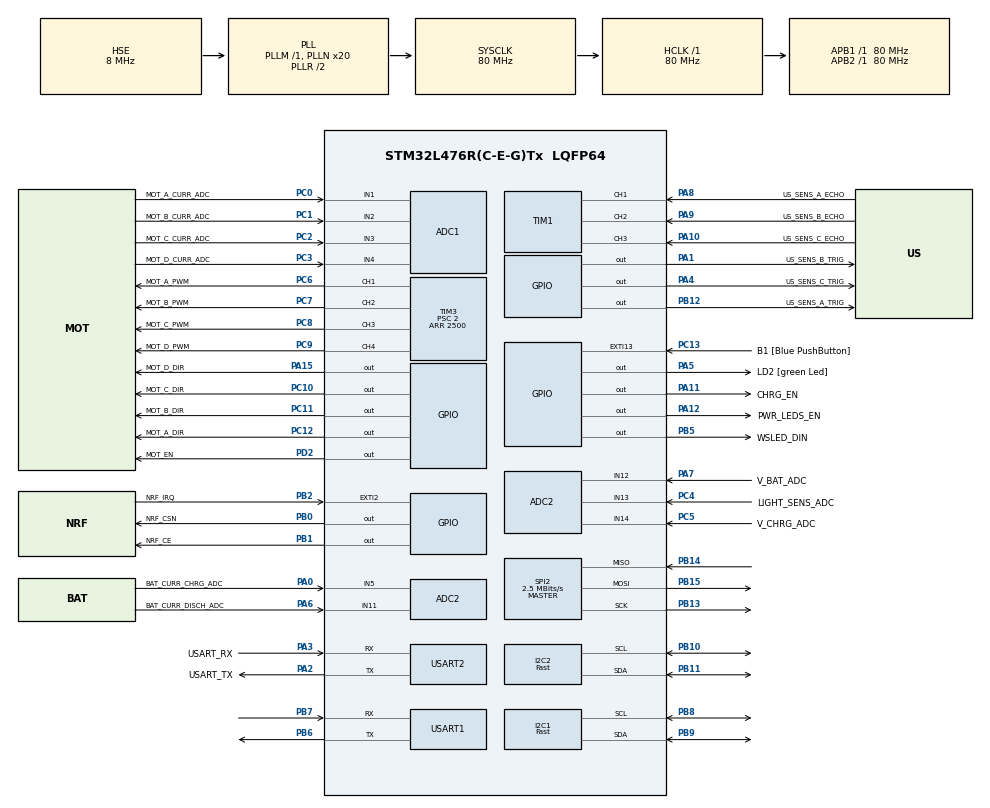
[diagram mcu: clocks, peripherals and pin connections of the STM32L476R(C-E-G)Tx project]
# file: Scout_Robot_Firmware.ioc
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ADC1.Channel-1\#ChannelRegularConversion=ADC_CHANNEL_1
ADC1.Channel-2\#ChannelRegularConversion=ADC_CHANNEL_2
ADC1.Channel-3\#ChannelRegularConversion=ADC_CHANNEL_3
ADC1.Channel-4\#ChannelRegularConversion=ADC_CHANNEL_4
ADC1.ContinuousConvMode=ENABLE
ADC1.DMAContinuousRequests=DISABLE
ADC1.EOCSelection=ADC_EOC_SEQ_CONV
ADC1.NbrOfConversion=4
ADC1.NbrOfConversionFlag=1
ADC1.OffsetNumber-1\#ChannelRegularConversion=ADC_OFFSET_NONE
ADC1.OffsetNumber-2\#ChannelRegularConversion=ADC_OFFSET_NONE
ADC1.OffsetNumber-3\#ChannelRegularConversion=ADC_OFFSET_NONE
ADC1.OffsetNumber-4\#ChannelRegularConversion=ADC_OFFSET_NONE
ADC1.Rank-1\#ChannelRegularConversion=1
ADC1.Rank-2\#ChannelRegularConversion=2
ADC1.Rank-3\#ChannelRegularConversion=3
ADC1.Rank-4\#ChannelRegularConversion=4
ADC1.SamplingTime-1\#ChannelRegularConversion=ADC_SAMPLETIME_47CYCLES_5
ADC1.SamplingTime-2\#ChannelRegularConversion=ADC_SAMPLETIME_47CYCLES_5
ADC1.SamplingTime-3\#ChannelRegularConversion=ADC_SAMPLETIME_47CYCLES_5
ADC1.SamplingTime-4\#ChannelRegularConversion=ADC_SAMPLETIME_47CYCLES_5
ADC1.master=1
ADC2.Channel-2\#ChannelRegularConversion=ADC_CHANNEL_11
ADC2.Channel-3\#ChannelRegularConversion=ADC_CHANNEL_11
ADC2.Channel-4\#ChannelRegularConversion=ADC_CHANNEL_11
ADC2.Channel-5\#ChannelRegularConversion=ADC_CHANNEL_11
ADC2.Channel-6\#ChannelRegularConversion=ADC_CHANNEL_5
ADC2.ContinuousConvMode=ENABLE
ADC2.DMAContinuousRequests=DISABLE
ADC2.EOCSelection=ADC_EOC_SEQ_CONV
ADC2.NbrOfConversion=5
ADC2.NbrOfConversionFlag=1
ADC2.OffsetNumber-2\#ChannelRegularConversion=ADC_OFFSET_NONE
ADC2.OffsetNumber-3\#ChannelRegularConversion=ADC_OFFSET_NONE
ADC2.OffsetNumber-4\#ChannelRegularConversion=ADC_OFFSET_NONE
ADC2.OffsetNumber-5\#ChannelRegularConversion=ADC_OFFSET_NONE
ADC2.OffsetNumber-6\#ChannelRegularConversion=ADC_OFFSET_NONE
ADC2.Rank-2\#ChannelRegularConversion=1
ADC2.Rank-3\#ChannelRegularConversion=2
ADC2.Rank-4\#ChannelRegularConversion=3
ADC2.Rank-5\#ChannelRegularConversion=4
ADC2.Rank-6\#ChannelRegularConversion=5
ADC2.SamplingTime-2\#ChannelRegularConversion=ADC_SAMPLETIME_2CYCLES_5
ADC2.SamplingTime-3\#ChannelRegularConversion=ADC_SAMPLETIME_2CYCLES_5
ADC2.SamplingTime-4\#ChannelRegularConversion=ADC_SAMPLETIME_2CYCLES_5
ADC2.SamplingTime-5\#ChannelRegularConversion=ADC_SAMPLETIME_2CYCLES_5
ADC2.SamplingTime-6\#ChannelRegularConversion=ADC_SAMPLETIME_2CYCLES_5
Dma.ADC1.0.Direction=DMA_PERIPH_TO_MEMORY
Dma.ADC1.0.Instance=DMA1_Channel1
Dma.ADC1.0.MemDataAlignment=DMA_MDATAALIGN_HALFWORD
Dma.ADC1.0.MemInc=DMA_MINC_ENABLE
Dma.ADC1.0.Mode=DMA_NORMAL
Dma.ADC1.0.PeriphDataAlignment=DMA_PDATAALIGN_HALFWORD
Dma.ADC1.0.PeriphInc=DMA_PINC_DISABLE
Dma.ADC1.0.Priority=DMA_PRIORITY_LOW
Dma.ADC2.1.Direction=DMA_PERIPH_TO_MEMORY
Dma.ADC2.1.Instance=DMA1_Channel2
Dma.ADC2.1.MemDataAlignment=DMA_MDATAALIGN_HALFWORD
Dma.ADC2.1.MemInc=DMA_MINC_ENABLE
Dma.ADC2.1.Mode=DMA_NORMAL
Dma.ADC2.1.PeriphDataAlignment=DMA_PDATAALIGN_HALFWORD
Dma.ADC2.1.PeriphInc=DMA_PINC_DISABLE
Dma.ADC2.1.Priority=DMA_PRIORITY_LOW
Dma.Request0=ADC1
Dma.Request1=ADC2
I2C1.I2C_Speed_Mode=I2C_Fast
I2C1.Timing=0x00702991
I2C2.I2C_Rise_Time=0
I2C2.I2C_Speed_Mode=I2C_Fast
I2C2.Timing=0x00702991
Mcu.Family=STM32L4
Mcu.Name=STM32L476R(C-E-G)Tx
Mcu.Package=LQFP64
NVIC.DMA1_Channel1_IRQn=true\:0\:0\:false\:false\:true\:false\:true\:true
NVIC.DMA1_Channel2_IRQn=true\:0\:0\:false\:false\:true\:false\:true\:true
NVIC.PriorityGroup=NVIC_PRIORITYGROUP_4
NVIC.TIM3_IRQn=true\:0\:0\:false\:false\:true\:true\:true\:true
PA0.GPIO_Label=BAT_CURR_CHRG_ADC
PA0.Signal=ADCx_IN5
PA1.GPIO_Label=US_SENS_B_TRIG
PA1.Signal=GPIO_Output
PA10.GPIO_Label=US_SENS_C_ECHO
PA10.Signal=S_TIM1_CH3
PA11.GPIO_Label=CHRG_EN
PA11.Signal=GPIO_Output
PA12.GPIO_Label=PWR_LEDS_EN
PA12.Signal=GPIO_Output
PA13\ (JTMS-SWDIO).GPIO_Label=TMS
PA13\ (JTMS-SWDIO).Mode=Serial_Wire
PA13\ (JTMS-SWDIO).Signal=SYS_JTMS-SWDIO
PA14\ (JTCK-SWCLK).GPIO_Label=TCK
PA14\ (JTCK-SWCLK).Mode=Serial_Wire
PA14\ (JTCK-SWCLK).Signal=SYS_JTCK-SWCLK
PA15\ (JTDI).GPIO_Label=MOT_D_DIR
PA15\ (JTDI).Signal=GPIO_Output
PA2.GPIO_Label=USART_TX
PA2.GPIO_Mode=GPIO_MODE_AF_PP
PA2.GPIO_PuPd=GPIO_NOPULL
PA2.GPIO_Speed=GPIO_SPEED_FREQ_VERY_HIGH
PA2.Mode=Asynchronous
PA2.Signal=USART2_TX
PA3.GPIO_Label=USART_RX
PA3.GPIO_Mode=GPIO_MODE_AF_PP
PA3.GPIO_PuPd=GPIO_NOPULL
PA3.GPIO_Speed=GPIO_SPEED_FREQ_VERY_HIGH
PA3.Mode=Asynchronous
PA3.Signal=USART2_RX
PA4.GPIO_Label=US_SENS_C_TRIG
PA4.Signal=GPIO_Output
PA5.GPIO_Label=LD2 [green Led]
PA5.GPIO_ModeDefaultOutputPP=GPIO_MODE_OUTPUT_PP
PA5.GPIO_PuPd=GPIO_NOPULL
PA5.GPIO_Speed=GPIO_SPEED_FREQ_LOW
PA5.Signal=GPIO_Output
PA6.GPIO_Label=BAT_CURR_DISCH_ADC
PA6.Signal=ADCx_IN11
PA7.GPIO_Label=V_BAT_ADC
PA7.Signal=ADCx_IN12
PA8.GPIO_Label=US_SENS_A_ECHO
PA8.Signal=S_TIM1_CH1
PA9.GPIO_Label=US_SENS_B_ECHO
PA9.Signal=S_TIM1_CH2
PB0.GPIO_Label=NRF_CSN
PB0.Signal=GPIO_Output
PB1.GPIO_Label=NRF_CE
PB1.Signal=GPIO_Output
PB10.Mode=I2C
PB10.Signal=I2C2_SCL
PB11.Mode=I2C
PB11.Signal=I2C2_SDA
PB12.GPIO_Label=US_SENS_A_TRIG
PB12.Signal=GPIO_Output
PB13.Mode=Full_Duplex_Master
PB13.Signal=SPI2_SCK
PB14.Mode=Full_Duplex_Master
PB14.Signal=SPI2_MISO
PB15.Mode=Full_Duplex_Master
PB15.Signal=SPI2_MOSI
PB2.GPIO_Label=NRF_IRQ
PB2.Signal=GPXTI2
PB3\ (JTDO-TRACESWO).GPIO_Label=SWO
PB3\ (JTDO-TRACESWO).Signal=SYS_JTDO-SWO
PB5.GPIO_Label=WSLED_DIN
PB5.Signal=GPIO_Output
PB6.Mode=Asynchronous
PB6.Signal=USART1_TX
PB7.Mode=Asynchronous
PB7.Signal=USART1_RX
PB8.Mode=I2C
PB8.Signal=I2C1_SCL
PB9.Mode=I2C
PB9.Signal=I2C1_SDA
PC0.GPIO_Label=MOT_A_CURR_ADC
PC0.Signal=ADCx_IN1
PC1.GPIO_Label=MOT_B_CURR_ADC
PC1.Signal=ADCx_IN2
PC10.GPIO_Label=MOT_C_DIR
PC10.Signal=GPIO_Output
PC11.GPIO_Label=MOT_B_DIR
PC11.Signal=GPIO_Output
PC12.GPIO_Label=MOT_A_DIR
PC12.Signal=GPIO_Output
PC13.GPIO_Label=B1 [Blue PushButton]
PC13.GPIO_ModeDefaultEXTI=GPIO_MODE_IT_FALLING
PC13.GPIO_PuPd=GPIO_NOPULL
PC13.Signal=GPXTI13
PC14-OSC32_IN\ (PC14).Mode=LSE-External-Oscillator
PC14-OSC32_IN\ (PC14).Signal=RCC_OSC32_IN
PC15-OSC32_OUT\ (PC15).Mode=LSE-External-Oscillator
PC15-OSC32_OUT\ (PC15).Signal=RCC_OSC32_OUT
PC2.GPIO_Label=MOT_C_CURR_ADC
PC2.Signal=ADCx_IN3
PC3.GPIO_Label=MOT_D_CURR_ADC
PC3.Signal=ADCx_IN4
PC4.GPIO_Label=LIGHT_SENS_ADC
PC4.Signal=ADCx_IN13
PC5.GPIO_Label=V_CHRG_ADC
PC5.Signal=ADCx_IN14
PC6.GPIO_Label=MOT_A_PWM
PC6.Signal=S_TIM3_CH1
PC7.GPIO_Label=MOT_B_PWM
PC7.Signal=S_TIM3_CH2
PC8.GPIO_Label=MOT_C_PWM
PC8.Signal=S_TIM3_CH3
PC9.GPIO_Label=MOT_D_PWM
PC9.Signal=S_TIM3_CH4
PD2.GPIO_Label=MOT_EN
PD2.Signal=GPIO_Output
PH0-OSC_IN\ (PH0).Mode=HSE-External-Oscillator
PH0-OSC_IN\ (PH0).Signal=RCC_OSC_IN
PH1-OSC_OUT\ (PH1).Mode=HSE-External-Oscillator
PH1-OSC_OUT\ (PH1).Signal=RCC_OSC_OUT
ProjectManager.HeapSize=0x200
ProjectManager.StackSize=0x400
ProjectManager.TargetToolchain=STM32CubeIDE
RCC.ADCFreq_Value=32000000
RCC.AHBFreq_Value=80000000
RCC.APB1Freq_Value=80000000
RCC.APB1TimFreq_Value=80000000
RCC.APB2Freq_Value=80000000
RCC.APB2TimFreq_Value=80000000
RCC.CortexFreq_Value=80000000
RCC.EnbaleCSS=true
RCC.FLatency-AdvancedSettings=FLASH_LATENCY_0
RCC.HCLKFreq_Value=80000000
RCC.HSE_VALUE=8000000
RCC.HSI_VALUE=16000000
RCC.MSI_VALUE=4000000
RCC.PLLN=20
RCC.PLLSourceVirtual=RCC_PLLSOURCE_HSE
RCC.PREFETCH_ENABLE=1
RCC.SYSCLKFreq_VALUE=80000000
RCC.SYSCLKSource=RCC_SYSCLKSOURCE_PLLCLK
RCC.USBFreq_Value=32000000
RCC.VCOOutputFreq_Value=160000000
SH.ADCx_IN1.0=ADC1_IN1,IN1-Single-Ended
SH.ADCx_IN11.0=ADC2_IN11,IN11-Single-Ended
SH.ADCx_IN12.0=ADC2_IN12,IN12-Single-Ended
SH.ADCx_IN13.0=ADC2_IN13,IN13-Single-Ended
SH.ADCx_IN14.0=ADC2_IN14,IN14-Single-Ended
SH.ADCx_IN2.0=ADC1_IN2,IN2-Single-Ended
SH.ADCx_IN3.0=ADC1_IN3,IN3-Single-Ended
SH.ADCx_IN4.0=ADC1_IN4,IN4-Single-Ended
SH.ADCx_IN5.0=ADC2_IN5,IN5-Single-Ended
SH.S_TIM1_CH1.0=TIM1_CH1,Input_Capture1_from_TI1
SH.S_TIM1_CH2.0=TIM1_CH2,Input_Capture2_from_TI2
SH.S_TIM1_CH3.0=TIM1_CH3,Input_Capture3_from_TI3
SH.S_TIM3_CH1.0=TIM3_CH1,PWM Generation1 CH1
SH.S_TIM3_CH2.0=TIM3_CH2,PWM Generation2 CH2
SH.S_TIM3_CH3.0=TIM3_CH3,PWM Generation3 CH3
SH.S_TIM3_CH4.0=TIM3_CH4,PWM Generation4 CH4
SPI2.BaudRatePrescaler=SPI_BAUDRATEPRESCALER_32
SPI2.CalculateBaudRate=2.5 MBits/s
SPI2.DataSize=SPI_DATASIZE_8BIT
SPI2.Direction=SPI_DIRECTION_2LINES
SPI2.Mode=SPI_MODE_MASTER
SPI2.NSSPMode=SPI_NSS_PULSE_DISABLE
SPI2.VirtualType=VM_MASTER
TIM1.Channel-Input_Capture1_from_TI1=TIM_CHANNEL_1
TIM1.Channel-Input_Capture2_from_TI2=TIM_CHANNEL_2
TIM1.Channel-Input_Capture3_from_TI3=TIM_CHANNEL_3
TIM3.Channel-PWM\ Generation1\ CH1=TIM_CHANNEL_1
TIM3.Channel-PWM\ Generation2\ CH2=TIM_CHANNEL_2
TIM3.Channel-PWM\ Generation3\ CH3=TIM_CHANNEL_3
TIM3.Channel-PWM\ Generation4\ CH4=TIM_CHANNEL_4
TIM3.Period=2500
TIM3.Prescaler=2
USART1.VirtualMode-Asynchronous=VM_ASYNC
USART2.VirtualMode-Asynchronous=VM_ASYNC
VP_TIM1_VS_ClockSourceITR.Mode=TriggerSource_ITR0
board=NUCLEO-L476RG

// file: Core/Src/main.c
/* USER CODE BEGIN Header */
/**
  ******************************************************************************
  * @file           : main.c
  * @brief          : Main program body
  ******************************************************************************
  * @attention
  *
  * Copyright (c) 2023 STMicroelectronics.
  * All rights reserved.
  *
  * This software is licensed under terms that can be found in the LICENSE file
  * in the root directory of this software component.
  * If no LICENSE file comes with this software, it is provided AS-IS.
  *
  ******************************************************************************
  */
/* USER CODE END Header */
#include "main.h"

/* USER CODE BEGIN Includes */
#include <stdio.h>
#include "Motors/motors.h"
#include "Analog/Analog.h"
#include "NRF24L01/NRF24L01.h"
#include "TEMT6000/TEMPT6000.h"
#include "BMP280/BMP280.h"

/* USER CODE END Includes */

ADC_HandleTypeDef hadc1;
ADC_HandleTypeDef hadc2;
DMA_HandleTypeDef hdma_adc1;
DMA_HandleTypeDef hdma_adc2;

I2C_HandleTypeDef hi2c1;
I2C_HandleTypeDef hi2c2;

SPI_HandleTypeDef hspi2;

TIM_HandleTypeDef htim1;
TIM_HandleTypeDef htim3;

UART_HandleTypeDef huart1;
UART_HandleTypeDef huart2;

/* USER CODE BEGIN PV */
float temperature;
float TEMT6000_lux;
/* USER CODE END PV */

void SystemClock_Config(void);
void PeriphCommonClock_Config(void);
static void MX_GPIO_Init(void);
static void MX_DMA_Init(void);
static void MX_USART2_UART_Init(void);
static void MX_ADC1_Init(void);
static void MX_ADC2_Init(void);
static void MX_I2C1_Init(void);
static void MX_I2C2_Init(void);
static void MX_SPI2_Init(void);
static void MX_TIM1_Init(void);
static void MX_TIM3_Init(void);
static void MX_USART1_UART_Init(void);

/* USER CODE BEGIN 0 */
int _write(int file, char *ptr, int len){
	HAL_UART_Transmit(&huart2, (uint8_t *) ptr, len, 50);
	return len;
}
/* USER CODE END 0 */

int main(void)
{

  /* MCU Configuration--------------------------------------------------------*/

  /* Reset of all peripherals, Initializes the Flash interface and the Systick. */
  HAL_Init();

  /* Configure the system clock */
  SystemClock_Config();

/* Configure the peripherals common clocks */
  PeriphCommonClock_Config();

  /* Initialize all configured peripherals */
  MX_GPIO_Init();
  MX_DMA_Init();
  MX_USART2_UART_Init();
  MX_ADC1_Init();
  MX_ADC2_Init();
  MX_I2C1_Init();
  MX_I2C2_Init();
  MX_SPI2_Init();
  MX_TIM1_Init();
  MX_TIM3_Init();
  MX_USART1_UART_Init();
  /* USER CODE BEGIN 2 */

  BMP280_Init(&hi2c1, BMP280_TEMPERATURE_20BIT, BMP280_FORCEDMODE);
  HAL_Delay(3000);
  HAL_TIM_IC_Start(&htim3, TIM_CHANNEL_1);
  HAL_TIM_IC_Start(&htim3, TIM_CHANNEL_2);
  HAL_TIM_PWM_Start(&htim3, TIM_CHANNEL_3);
  HAL_Delay(1000);
  TEMT6000_Init(&hadc2);
  HAL_Delay(1000);
  /* USER CODE END 2 */

  /* Infinite loop */
  while (1)
  {

    /* USER CODE BEGIN 3 */

	  float light;
	  	  uint32_t start = HAL_TIM_ReadCapturedValue(&htim3, TIM_CHANNEL_1);
	  	  uint32_t stop = HAL_TIM_ReadCapturedValue(&htim3, TIM_CHANNEL_2);
	  	  TEMT6000_ReadLight(&TEMT6000_lux);
	  	 	  if(TEMT6000_OK == TEMT6000_ReadLight(&TEMT6000_lux))
	  	 	  	  {
	  	 	  		 light=TEMT6000_lux;
	  	 	  	  }
	  	  BMP280_Read_Temperature(&temperature);
	  	 // printf("%.1f %.1f %.1f\n", (stop - start) / 58.0f, light, temperature);
	  HAL_Delay(1000);
  }
  /* USER CODE END 3 */
}

void SystemClock_Config(void)
{
  RCC_OscInitTypeDef RCC_OscInitStruct = {0};
  RCC_ClkInitTypeDef RCC_ClkInitStruct = {0};

  /** Configure the main internal regulator output voltage
  */
  if (HAL_PWREx_ControlVoltageScaling(PWR_REGULATOR_VOLTAGE_SCALE1) != HAL_OK)
  {
    Error_Handler();
  }

  /** Initializes the RCC Oscillators according to the specified parameters
  * in the RCC_OscInitTypeDef structure.
  */
  RCC_OscInitStruct.OscillatorType = RCC_OSCILLATORTYPE_HSE;
  RCC_OscInitStruct.HSEState = RCC_HSE_ON;
  RCC_OscInitStruct.PLL.PLLState = RCC_PLL_ON;
  RCC_OscInitStruct.PLL.PLLSource = RCC_PLLSOURCE_HSE;
  RCC_OscInitStruct.PLL.PLLM = 1;
  RCC_OscInitStruct.PLL.PLLN = 20;
  RCC_OscInitStruct.PLL.PLLP = RCC_PLLP_DIV7;
  RCC_OscInitStruct.PLL.PLLQ = RCC_PLLQ_DIV2;
  RCC_OscInitStruct.PLL.PLLR = RCC_PLLR_DIV2;
  if (HAL_RCC_OscConfig(&RCC_OscInitStruct) != HAL_OK)
  {
    Error_Handler();
  }

  /** Initializes the CPU, AHB and APB buses clocks
  */
  RCC_ClkInitStruct.ClockType = RCC_CLOCKTYPE_HCLK|RCC_CLOCKTYPE_SYSCLK
                              |RCC_CLOCKTYPE_PCLK1|RCC_CLOCKTYPE_PCLK2;
  RCC_ClkInitStruct.SYSCLKSource = RCC_SYSCLKSOURCE_PLLCLK;
  RCC_ClkInitStruct.AHBCLKDivider = RCC_SYSCLK_DIV1;
  RCC_ClkInitStruct.APB1CLKDivider = RCC_HCLK_DIV1;
  RCC_ClkInitStruct.APB2CLKDivider = RCC_HCLK_DIV1;

  if (HAL_RCC_ClockConfig(&RCC_ClkInitStruct, FLASH_LATENCY_4) != HAL_OK)
  {
    Error_Handler();
  }

  /** Enables the Clock Security System
  */
  HAL_RCC_EnableCSS();
}

void PeriphCommonClock_Config(void)
{
  RCC_PeriphCLKInitTypeDef PeriphClkInit = {0};

  /** Initializes the peripherals clock
  */
  PeriphClkInit.PeriphClockSelection = RCC_PERIPHCLK_ADC;
  PeriphClkInit.AdcClockSelection = RCC_ADCCLKSOURCE_PLLSAI1;
  PeriphClkInit.PLLSAI1.PLLSAI1Source = RCC_PLLSOURCE_HSE;
  PeriphClkInit.PLLSAI1.PLLSAI1M = 1;
  PeriphClkInit.PLLSAI1.PLLSAI1N = 8;
  PeriphClkInit.PLLSAI1.PLLSAI1P = RCC_PLLP_DIV7;
  PeriphClkInit.PLLSAI1.PLLSAI1Q = RCC_PLLQ_DIV2;
  PeriphClkInit.PLLSAI1.PLLSAI1R = RCC_PLLR_DIV2;
  PeriphClkInit.PLLSAI1.PLLSAI1ClockOut = RCC_PLLSAI1_ADC1CLK;
  if (HAL_RCCEx_PeriphCLKConfig(&PeriphClkInit) != HAL_OK)
  {
    Error_Handler();
  }
}

static void MX_ADC1_Init(void)
{

  ADC_MultiModeTypeDef multimode = {0};
  ADC_ChannelConfTypeDef sConfig = {0};

  /** Common config
  */
  hadc1.Instance = ADC1;
  hadc1.Init.ClockPrescaler = ADC_CLOCK_ASYNC_DIV1;
  hadc1.Init.Resolution = ADC_RESOLUTION_12B;
  hadc1.Init.DataAlign = ADC_DATAALIGN_RIGHT;
  hadc1.Init.ScanConvMode = ADC_SCAN_ENABLE;
  hadc1.Init.EOCSelection = ADC_EOC_SEQ_CONV;
  hadc1.Init.LowPowerAutoWait = DISABLE;
  hadc1.Init.ContinuousConvMode = ENABLE;
  hadc1.Init.NbrOfConversion = 4;
  hadc1.Init.DiscontinuousConvMode = DISABLE;
  hadc1.Init.ExternalTrigConv = ADC_SOFTWARE_START;
  hadc1.Init.ExternalTrigConvEdge = ADC_EXTERNALTRIGCONVEDGE_NONE;
  hadc1.Init.DMAContinuousRequests = DISABLE;
  hadc1.Init.Overrun = ADC_OVR_DATA_PRESERVED;
  hadc1.Init.OversamplingMode = DISABLE;
  if (HAL_ADC_Init(&hadc1) != HAL_OK)
  {
    Error_Handler();
  }

  /** Configure the ADC multi-mode
  */
  multimode.Mode = ADC_MODE_INDEPENDENT;
  if (HAL_ADCEx_MultiModeConfigChannel(&hadc1, &multimode) != HAL_OK)
  {
    Error_Handler();
  }

  /** Configure Regular Channel
  */
  sConfig.Channel = ADC_CHANNEL_1;
  sConfig.Rank = ADC_REGULAR_RANK_1;
  sConfig.SamplingTime = ADC_SAMPLETIME_47CYCLES_5;
  sConfig.SingleDiff = ADC_SINGLE_ENDED;
  sConfig.OffsetNumber = ADC_OFFSET_NONE;
  sConfig.Offset = 0;
  if (HAL_ADC_ConfigChannel(&hadc1, &sConfig) != HAL_OK)
  {
    Error_Handler();
  }

  /** Configure Regular Channel
  */
  sConfig.Channel = ADC_CHANNEL_2;
  sConfig.Rank = ADC_REGULAR_RANK_2;
  if (HAL_ADC_ConfigChannel(&hadc1, &sConfig) != HAL_OK)
  {
    Error_Handler();
  }

  /** Configure Regular Channel
  */
  sConfig.Channel = ADC_CHANNEL_3;
  sConfig.Rank = ADC_REGULAR_RANK_3;
  if (HAL_ADC_ConfigChannel(&hadc1, &sConfig) != HAL_OK)
  {
    Error_Handler();
  }

  /** Configure Regular Channel
  */
  sConfig.Channel = ADC_CHANNEL_4;
  sConfig.Rank = ADC_REGULAR_RANK_4;
  if (HAL_ADC_ConfigChannel(&hadc1, &sConfig) != HAL_OK)
  {
    Error_Handler();
  }

}

static void MX_ADC2_Init(void)
{

  ADC_ChannelConfTypeDef sConfig = {0};

  /** Common config
  */
  hadc2.Instance = ADC2;
  hadc2.Init.ClockPrescaler = ADC_CLOCK_ASYNC_DIV1;
  hadc2.Init.Resolution = ADC_RESOLUTION_12B;
  hadc2.Init.DataAlign = ADC_DATAALIGN_RIGHT;
  hadc2.Init.ScanConvMode = ADC_SCAN_ENABLE;
  hadc2.Init.EOCSelection = ADC_EOC_SEQ_CONV;
  hadc2.Init.LowPowerAutoWait = DISABLE;
  hadc2.Init.ContinuousConvMode = ENABLE;
  hadc2.Init.NbrOfConversion = 5;
  hadc2.Init.DiscontinuousConvMode = DISABLE;
  hadc2.Init.ExternalTrigConv = ADC_SOFTWARE_START;
  hadc2.Init.ExternalTrigConvEdge = ADC_EXTERNALTRIGCONVEDGE_NONE;
  hadc2.Init.DMAContinuousRequests = DISABLE;
  hadc2.Init.Overrun = ADC_OVR_DATA_PRESERVED;
  hadc2.Init.OversamplingMode = DISABLE;
  if (HAL_ADC_Init(&hadc2) != HAL_OK)
  {
    Error_Handler();
  }

  /** Configure Regular Channel
  */
  sConfig.Channel = ADC_CHANNEL_11;
  sConfig.Rank = ADC_REGULAR_RANK_1;
  sConfig.SamplingTime = ADC_SAMPLETIME_2CYCLES_5;
  sConfig.SingleDiff = ADC_SINGLE_ENDED;
  sConfig.OffsetNumber = ADC_OFFSET_NONE;
  sConfig.Offset = 0;
  if (HAL_ADC_ConfigChannel(&hadc2, &sConfig) != HAL_OK)
  {
    Error_Handler();
  }

  /** Configure Regular Channel
  */
  sConfig.Rank = ADC_REGULAR_RANK_2;
  if (HAL_ADC_ConfigChannel(&hadc2, &sConfig) != HAL_OK)
  {
    Error_Handler();
  }

  /** Configure Regular Channel
  */
  sConfig.Rank = ADC_REGULAR_RANK_3;
  if (HAL_ADC_ConfigChannel(&hadc2, &sConfig) != HAL_OK)
  {
    Error_Handler();
  }

  /** Configure Regular Channel
  */
  sConfig.Rank = ADC_REGULAR_RANK_4;
  if (HAL_ADC_ConfigChannel(&hadc2, &sConfig) != HAL_OK)
  {
    Error_Handler();
  }

  /** Configure Regular Channel
  */
  sConfig.Channel = ADC_CHANNEL_5;
  sConfig.Rank = ADC_REGULAR_RANK_5;
  if (HAL_ADC_ConfigChannel(&hadc2, &sConfig) != HAL_OK)
  {
    Error_Handler();
  }

}

static void MX_I2C1_Init(void)
{

  hi2c1.Instance = I2C1;
  hi2c1.Init.Timing = 0x00702991;
  hi2c1.Init.OwnAddress1 = 0;
  hi2c1.Init.AddressingMode = I2C_ADDRESSINGMODE_7BIT;
  hi2c1.Init.DualAddressMode = I2C_DUALADDRESS_DISABLE;
  hi2c1.Init.OwnAddress2 = 0;
  hi2c1.Init.OwnAddress2Masks = I2C_OA2_NOMASK;
  hi2c1.Init.GeneralCallMode = I2C_GENERALCALL_DISABLE;
  hi2c1.Init.NoStretchMode = I2C_NOSTRETCH_DISABLE;
  if (HAL_I2C_Init(&hi2c1) != HAL_OK)
  {
    Error_Handler();
  }

  /** Configure Analogue filter
  */
  if (HAL_I2CEx_ConfigAnalogFilter(&hi2c1, I2C_ANALOGFILTER_ENABLE) != HAL_OK)
  {
    Error_Handler();
  }

  /** Configure Digital filter
  */
  if (HAL_I2CEx_ConfigDigitalFilter(&hi2c1, 0) != HAL_OK)
  {
    Error_Handler();
  }

}

static void MX_I2C2_Init(void)
{

  hi2c2.Instance = I2C2;
  hi2c2.Init.Timing = 0x00702991;
  hi2c2.Init.OwnAddress1 = 0;
  hi2c2.Init.AddressingMode = I2C_ADDRESSINGMODE_7BIT;
  hi2c2.Init.DualAddressMode = I2C_DUALADDRESS_DISABLE;
  hi2c2.Init.OwnAddress2 = 0;
  hi2c2.Init.OwnAddress2Masks = I2C_OA2_NOMASK;
  hi2c2.Init.GeneralCallMode = I2C_GENERALCALL_DISABLE;
  hi2c2.Init.NoStretchMode = I2C_NOSTRETCH_DISABLE;
  if (HAL_I2C_Init(&hi2c2) != HAL_OK)
  {
    Error_Handler();
  }

  /** Configure Analogue filter
  */
  if (HAL_I2CEx_ConfigAnalogFilter(&hi2c2, I2C_ANALOGFILTER_ENABLE) != HAL_OK)
  {
    Error_Handler();
  }

  /** Configure Digital filter
  */
  if (HAL_I2CEx_ConfigDigitalFilter(&hi2c2, 0) != HAL_OK)
  {
    Error_Handler();
  }

}

static void MX_SPI2_Init(void)
{

  /* SPI2 parameter configuration*/
  hspi2.Instance = SPI2;
  hspi2.Init.Mode = SPI_MODE_MASTER;
  hspi2.Init.Direction = SPI_DIRECTION_2LINES;
  hspi2.Init.DataSize = SPI_DATASIZE_8BIT;
  hspi2.Init.CLKPolarity = SPI_POLARITY_LOW;
  hspi2.Init.CLKPhase = SPI_PHASE_1EDGE;
  hspi2.Init.NSS = SPI_NSS_SOFT;
  hspi2.Init.BaudRatePrescaler = SPI_BAUDRATEPRESCALER_32;
  hspi2.Init.FirstBit = SPI_FIRSTBIT_MSB;
  hspi2.Init.TIMode = SPI_TIMODE_DISABLE;
  hspi2.Init.CRCCalculation = SPI_CRCCALCULATION_DISABLE;
  hspi2.Init.CRCPolynomial = 7;
  hspi2.Init.CRCLength = SPI_CRC_LENGTH_DATASIZE;
  hspi2.Init.NSSPMode = SPI_NSS_PULSE_DISABLE;
  if (HAL_SPI_Init(&hspi2) != HAL_OK)
  {
    Error_Handler();
  }

}

static void MX_TIM1_Init(void)
{

  TIM_SlaveConfigTypeDef sSlaveConfig = {0};
  TIM_MasterConfigTypeDef sMasterConfig = {0};
  TIM_IC_InitTypeDef sConfigIC = {0};

  htim1.Instance = TIM1;
  htim1.Init.Prescaler = 0;
  htim1.Init.CounterMode = TIM_COUNTERMODE_UP;
  htim1.Init.Period = 65535;
  htim1.Init.ClockDivision = TIM_CLOCKDIVISION_DIV1;
  htim1.Init.RepetitionCounter = 0;
  htim1.Init.AutoReloadPreload = TIM_AUTORELOAD_PRELOAD_DISABLE;
  if (HAL_TIM_Base_Init(&htim1) != HAL_OK)
  {
    Error_Handler();
  }
  if (HAL_TIM_IC_Init(&htim1) != HAL_OK)
  {
    Error_Handler();
  }
  sSlaveConfig.SlaveMode = TIM_SLAVEMODE_DISABLE;
  sSlaveConfig.InputTrigger = TIM_TS_ITR0;
  if (HAL_TIM_SlaveConfigSynchro(&htim1, &sSlaveConfig) != HAL_OK)
  {
    Error_Handler();
  }
  sMasterConfig.MasterOutputTrigger = TIM_TRGO_RESET;
  sMasterConfig.MasterOutputTrigger2 = TIM_TRGO2_RESET;
  sMasterConfig.MasterSlaveMode = TIM_MASTERSLAVEMODE_DISABLE;
  if (HAL_TIMEx_MasterConfigSynchronization(&htim1, &sMasterConfig) != HAL_OK)
  {
    Error_Handler();
  }
  sConfigIC.ICPolarity = TIM_INPUTCHANNELPOLARITY_RISING;
  sConfigIC.ICSelection = TIM_ICSELECTION_DIRECTTI;
  sConfigIC.ICPrescaler = TIM_ICPSC_DIV1;
  sConfigIC.ICFilter = 0;
  if (HAL_TIM_IC_ConfigChannel(&htim1, &sConfigIC, TIM_CHANNEL_1) != HAL_OK)
  {
    Error_Handler();
  }
  if (HAL_TIM_IC_ConfigChannel(&htim1, &sConfigIC, TIM_CHANNEL_2) != HAL_OK)
  {
    Error_Handler();
  }
  if (HAL_TIM_IC_ConfigChannel(&htim1, &sConfigIC, TIM_CHANNEL_3) != HAL_OK)
  {
    Error_Handler();
  }

}

static void MX_TIM3_Init(void)
{

  TIM_MasterConfigTypeDef sMasterConfig = {0};
  TIM_OC_InitTypeDef sConfigOC = {0};

  htim3.Instance = TIM3;
  htim3.Init.Prescaler = 2;
  htim3.Init.CounterMode = TIM_COUNTERMODE_UP;
  htim3.Init.Period = 2500;
  htim3.Init.ClockDivision = TIM_CLOCKDIVISION_DIV1;
  htim3.Init.AutoReloadPreload = TIM_AUTORELOAD_PRELOAD_DISABLE;
  if (HAL_TIM_PWM_Init(&htim3) != HAL_OK)
  {
    Error_Handler();
  }
  sMasterConfig.MasterOutputTrigger = TIM_TRGO_RESET;
  sMasterConfig.MasterSlaveMode = TIM_MASTERSLAVEMODE_DISABLE;
  if (HAL_TIMEx_MasterConfigSynchronization(&htim3, &sMasterConfig) != HAL_OK)
  {
    Error_Handler();
  }
  sConfigOC.OCMode = TIM_OCMODE_PWM1;
  sConfigOC.Pulse = 0;
  sConfigOC.OCPolarity = TIM_OCPOLARITY_HIGH;
  sConfigOC.OCFastMode = TIM_OCFAST_DISABLE;
  if (HAL_TIM_PWM_ConfigChannel(&htim3, &sConfigOC, TIM_CHANNEL_1) != HAL_OK)
  {
    Error_Handler();
  }
  if (HAL_TIM_PWM_ConfigChannel(&htim3, &sConfigOC, TIM_CHANNEL_2) != HAL_OK)
  {
    Error_Handler();
  }
  if (HAL_TIM_PWM_ConfigChannel(&htim3, &sConfigOC, TIM_CHANNEL_3) != HAL_OK)
  {
    Error_Handler();
  }
  if (HAL_TIM_PWM_ConfigChannel(&htim3, &sConfigOC, TIM_CHANNEL_4) != HAL_OK)
  {
    Error_Handler();
  }
  HAL_TIM_MspPostInit(&htim3);

}

static void MX_USART1_UART_Init(void)
{

  huart1.Instance = USART1;
  huart1.Init.BaudRate = 115200;
  huart1.Init.WordLength = UART_WORDLENGTH_8B;
  huart1.Init.StopBits = UART_STOPBITS_1;
  huart1.Init.Parity = UART_PARITY_NONE;
  huart1.Init.Mode = UART_MODE_TX_RX;
  huart1.Init.HwFlowCtl = UART_HWCONTROL_NONE;
  huart1.Init.OverSampling = UART_OVERSAMPLING_16;
  huart1.Init.OneBitSampling = UART_ONE_BIT_SAMPLE_DISABLE;
  huart1.AdvancedInit.AdvFeatureInit = UART_ADVFEATURE_NO_INIT;
  if (HAL_UART_Init(&huart1) != HAL_OK)
  {
    Error_Handler();
  }

}

static void MX_USART2_UART_Init(void)
{

  huart2.Instance = USART2;
  huart2.Init.BaudRate = 115200;
  huart2.Init.WordLength = UART_WORDLENGTH_8B;
  huart2.Init.StopBits = UART_STOPBITS_1;
  huart2.Init.Parity = UART_PARITY_NONE;
  huart2.Init.Mode = UART_MODE_TX_RX;
  huart2.Init.HwFlowCtl = UART_HWCONTROL_NONE;
  huart2.Init.OverSampling = UART_OVERSAMPLING_16;
  huart2.Init.OneBitSampling = UART_ONE_BIT_SAMPLE_DISABLE;
  huart2.AdvancedInit.AdvFeatureInit = UART_ADVFEATURE_NO_INIT;
  if (HAL_UART_Init(&huart2) != HAL_OK)
  {
    Error_Handler();
  }

}

static void MX_DMA_Init(void)
{

  /* DMA controller clock enable */
  __HAL_RCC_DMA1_CLK_ENABLE();

  /* DMA interrupt init */
  /* DMA1_Channel1_IRQn interrupt configuration */
  HAL_NVIC_SetPriority(DMA1_Channel1_IRQn, 0, 0);
  HAL_NVIC_EnableIRQ(DMA1_Channel1_IRQn);
  /* DMA1_Channel2_IRQn interrupt configuration */
  HAL_NVIC_SetPriority(DMA1_Channel2_IRQn, 0, 0);
  HAL_NVIC_EnableIRQ(DMA1_Channel2_IRQn);

}

static void MX_GPIO_Init(void)
{
  GPIO_InitTypeDef GPIO_InitStruct = {0};

  /* GPIO Ports Clock Enable */
  __HAL_RCC_GPIOC_CLK_ENABLE();
  __HAL_RCC_GPIOH_CLK_ENABLE();
  __HAL_RCC_GPIOA_CLK_ENABLE();
  __HAL_RCC_GPIOB_CLK_ENABLE();
  __HAL_RCC_GPIOD_CLK_ENABLE();

  /*Configure GPIO pin Output Level */
  HAL_GPIO_WritePin(GPIOA, US_SENS_B_TRIG_Pin|US_SENS_C_TRIG_Pin|LD2_Pin|CHRG_EN_Pin
                          |PWR_LEDS_EN_Pin|MOT_D_DIR_Pin, GPIO_PIN_RESET);

  /*Configure GPIO pin Output Level */
  HAL_GPIO_WritePin(GPIOB, NRF_CSN_Pin|NRF_CE_Pin|US_SENS_A_TRIG_Pin|WSLED_DIN_Pin, GPIO_PIN_RESET);

  /*Configure GPIO pin Output Level */
  HAL_GPIO_WritePin(GPIOC, MOT_C_DIR_Pin|MOT_B_DIR_Pin|MOT_A_DIR_Pin, GPIO_PIN_RESET);

  /*Configure GPIO pin Output Level */
  HAL_GPIO_WritePin(MOT_EN_GPIO_Port, MOT_EN_Pin, GPIO_PIN_RESET);

  /*Configure GPIO pin : B1_Pin */
  GPIO_InitStruct.Pin = B1_Pin;
  GPIO_InitStruct.Mode = GPIO_MODE_IT_FALLING;
  GPIO_InitStruct.Pull = GPIO_NOPULL;
  HAL_GPIO_Init(B1_GPIO_Port, &GPIO_InitStruct);

  /*Configure GPIO pins : US_SENS_B_TRIG_Pin US_SENS_C_TRIG_Pin LD2_Pin CHRG_EN_Pin
                           PWR_LEDS_EN_Pin MOT_D_DIR_Pin */
  GPIO_InitStruct.Pin = US_SENS_B_TRIG_Pin|US_SENS_C_TRIG_Pin|LD2_Pin|CHRG_EN_Pin
                          |PWR_LEDS_EN_Pin|MOT_D_DIR_Pin;
  GPIO_InitStruct.Mode = GPIO_MODE_OUTPUT_PP;
  GPIO_InitStruct.Pull = GPIO_NOPULL;
  GPIO_InitStruct.Speed = GPIO_SPEED_FREQ_LOW;
  HAL_GPIO_Init(GPIOA, &GPIO_InitStruct);

  /*Configure GPIO pins : NRF_CSN_Pin NRF_CE_Pin US_SENS_A_TRIG_Pin WSLED_DIN_Pin */
  GPIO_InitStruct.Pin = NRF_CSN_Pin|NRF_CE_Pin|US_SENS_A_TRIG_Pin|WSLED_DIN_Pin;
  GPIO_InitStruct.Mode = GPIO_MODE_OUTPUT_PP;
  GPIO_InitStruct.Pull = GPIO_NOPULL;
  GPIO_InitStruct.Speed = GPIO_SPEED_FREQ_LOW;
  HAL_GPIO_Init(GPIOB, &GPIO_InitStruct);

  /*Configure GPIO pin : NRF_IRQ_Pin */
  GPIO_InitStruct.Pin = NRF_IRQ_Pin;
  GPIO_InitStruct.Mode = GPIO_MODE_IT_RISING;
  GPIO_InitStruct.Pull = GPIO_NOPULL;
  HAL_GPIO_Init(NRF_IRQ_GPIO_Port, &GPIO_InitStruct);

  /*Configure GPIO pins : MOT_C_DIR_Pin MOT_B_DIR_Pin MOT_A_DIR_Pin */
  GPIO_InitStruct.Pin = MOT_C_DIR_Pin|MOT_B_DIR_Pin|MOT_A_DIR_Pin;
  GPIO_InitStruct.Mode = GPIO_MODE_OUTPUT_PP;
  GPIO_InitStruct.Pull = GPIO_NOPULL;
  GPIO_InitStruct.Speed = GPIO_SPEED_FREQ_LOW;
  HAL_GPIO_Init(GPIOC, &GPIO_InitStruct);

  /*Configure GPIO pin : MOT_EN_Pin */
  GPIO_InitStruct.Pin = MOT_EN_Pin;
  GPIO_InitStruct.Mode = GPIO_MODE_OUTPUT_PP;
  GPIO_InitStruct.Pull = GPIO_NOPULL;
  GPIO_InitStruct.Speed = GPIO_SPEED_FREQ_LOW;
  HAL_GPIO_Init(MOT_EN_GPIO_Port, &GPIO_InitStruct);

}

void Error_Handler(void)
{
  __disable_irq();
  while (1)
  {
  }
}
